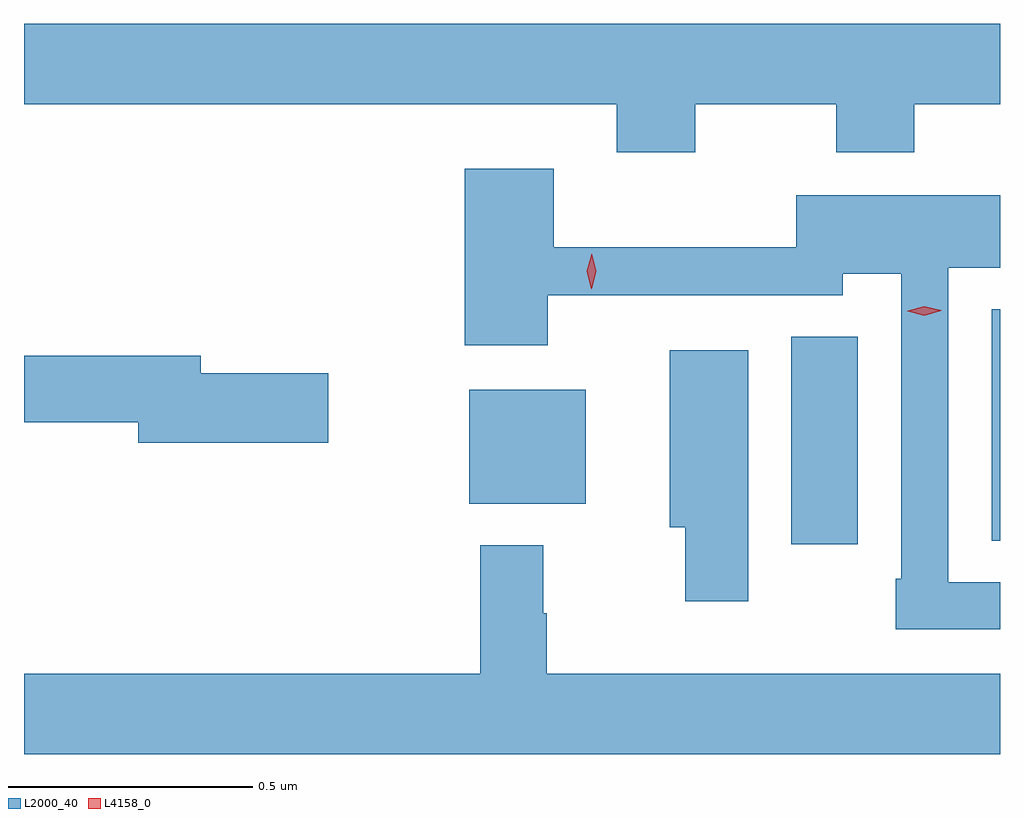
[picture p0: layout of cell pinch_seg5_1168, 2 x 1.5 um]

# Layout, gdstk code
import gdstk
lib = gdstk.Library(unit=1e-6, precision=1e-09)
def R(c, l, rs):  # rectangles x0, y0, x1, y1
    for r in rs: c.add(gdstk.rectangle(r[:2], r[2:], *l))
def P(c, l, *ps):  # polygons
    for p in ps: c.add(gdstk.Polygon(p, *l))
L2000_40 = (2000, 40)
L4158_0 = (4158, 0)

pinch_seg5_1168 = lib.new_cell('pinch_seg5_1168')
R(pinch_seg5_1168, L2000_40, [(782.288,847.866,782.425,848.291), (782.699,847.873,782.716,848.347), (781.628,847.949,781.867,848.182)])
P(pinch_seg5_1168, L2000_40, [(782.091,848.768),(782.38,848.768),(782.38,848.669),(782.54,848.669),(782.54,848.768),(782.716,848.768),(782.716,848.932),(780.716,848.932),(780.716,848.768),(781.931,848.768),(781.931,848.669),(782.091,848.669)],
  [(782.716,847.788),(782.61,847.788),(782.61,848.432),(782.716,848.432),(782.716,848.581),(782.298,848.581),(782.298,848.474),(781.802,848.474),(781.802,848.635),(781.619,848.635),(781.619,848.274),(781.789,848.274),(781.789,848.376),(782.394,848.376),(782.394,848.42),(782.514,848.42),(782.514,847.795),(782.502,847.795),(782.502,847.692),(782.716,847.692)],
  [(782.2,848.263),(782.039,848.263),(782.039,847.901),(782.071,847.901),(782.071,847.749),(782.2,847.749)],
  [(781.339,848.216),(781.078,848.216),(781.078,848.252),(780.716,848.252),(780.716,848.116),(780.95,848.116),(780.95,848.074),(781.339,848.074)],
  [(782.716,847.6),(781.787,847.6),(781.787,847.724),(781.78,847.724),(781.78,847.864),(781.651,847.864),(781.651,847.6),(780.716,847.6),(780.716,847.436),(782.716,847.436)])
P(pinch_seg5_1168, L4158_0, [(782.561,848.334),(782.527,848.343),(782.526,848.343),(782.527,848.344),(782.561,848.354),(782.596,848.345),(782.596,848.345),(782.596,848.344)],
  [(781.878,848.389),(781.878,848.389),(781.869,848.425),(781.879,848.461),(781.879,848.461),(781.879,848.461),(781.889,848.425),(781.879,848.389)])

lib.write_gds('pinch_seg5_1168.gds')
